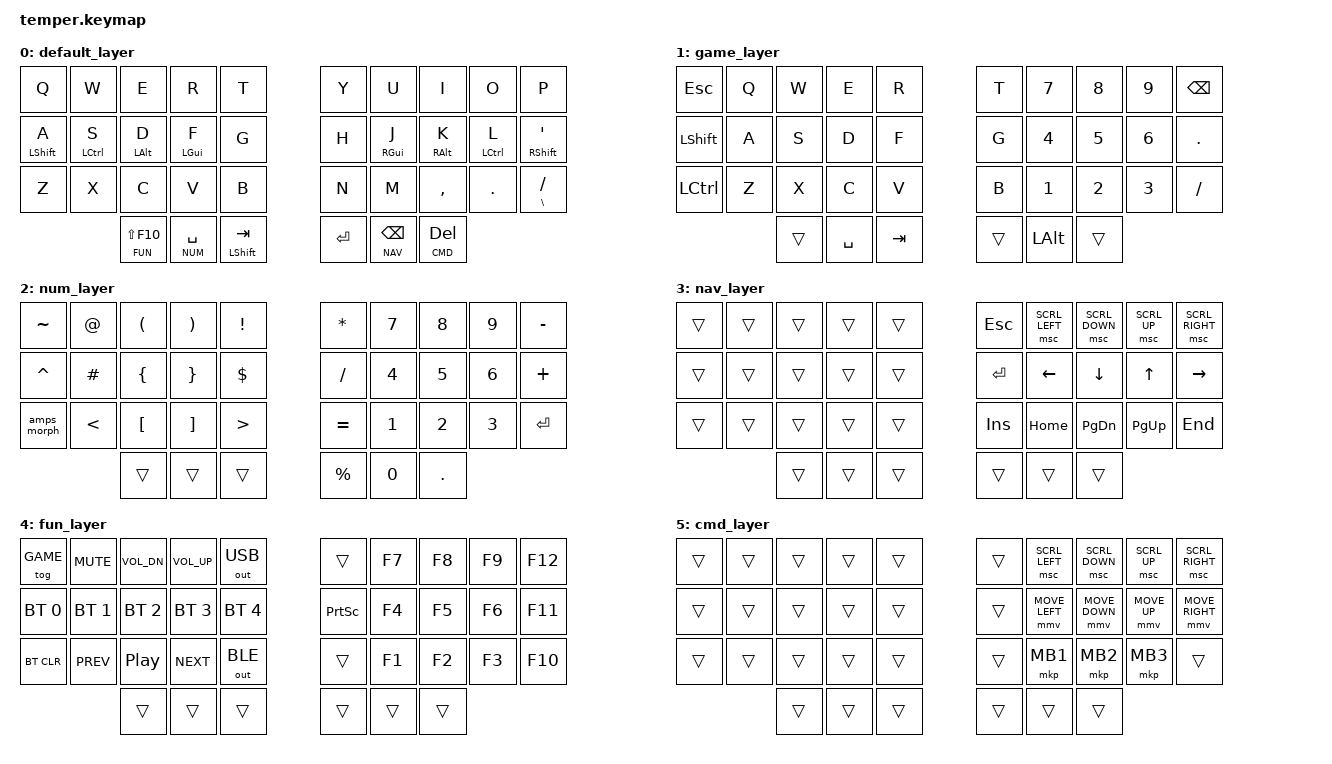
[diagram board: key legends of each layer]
/*
 * Copyright (c) 2020 The ZMK Contributors
 *
 * SPDX-License-Identifier: MIT
 */

#include <behaviors.dtsi>
#include <dt-bindings/zmk/keys.h>
#include <dt-bindings/zmk/bt.h>
#include <dt-bindings/zmk/outputs.h>
#include <dt-bindings/zmk/pointing.h>

#define DEFAULT 0
#define GAME 1
#define NUM 2
#define NAV 3
#define FUN 4
#define CMD 5

# define ______ &trans

/ {
    conditional_layers {
        compatible = "zmk,conditional-layers";
        tri_layer {
            if-layers = <NUM NAV>;
            then-layer = <FUN>;
        };
    };
    behaviors {
        hm: homerow_mods {
            compatible = "zmk,behavior-hold-tap";
            label = "HOMEROW_MODS";
            #binding-cells = <2>;
            tapping-term-ms = <150>;
            flavor = "tap-preferred";
            bindings = <&kp>, <&kp>;

            quick-tap-ms = <200>;
        };
        bspc_del: backspace_delete {
            compatible = "zmk,behavior-mod-morph";
            #binding-cells = <0>;
            bindings = <&kp BACKSPACE>, <&kp DELETE>;
            mods = <(MOD_LSFT|MOD_RSFT)>;
            keep-mods = <(MOD_RSFT)>;
        };
        super_bspc: super_backspace {
            compatible = "zmk,behavior-mod-morph";
            #binding-cells = <0>;
            bindings = <&kp BACKSPACE>, <&kp LA(BACKSPACE)>;
            mods = <(MOD_LSFT|MOD_RSFT)>;
        };
        smart_shft: smart_shift {
            compatible = "zmk,behavior-mod-morph";
            #binding-cells = <0>;
            bindings = <&kp LSHFT>, <&caps_word>;
            mods = <(MOD_LSFT)>;
        };
        comma_semi: comma_semi {
            compatible = "zmk,behavior-mod-morph";
            #binding-cells = <0>;
            bindings = <&kp COMMA>, <&kp SEMI>;
            mods = <(MOD_LSFT)>;
        };
        dot_colon: dot_colon {
            compatible = "zmk,behavior-mod-morph";
            #binding-cells = <0>;
            bindings = <&kp DOT>, <&kp COLON>;
            mods = <(MOD_LSFT)>;
        };
        qmrk_excl: qmrk_excl {
            compatible = "zmk,behavior-mod-morph";
            #binding-cells = <0>;
            bindings = <&kp QMARK>, <&kp EXCL>;
            mods = <(MOD_LSFT)>;
        };
        slh_morph: slh_morph {
            compatible = "zmk,behavior-mod-morph";
            #binding-cells = <0>;
            bindings = <&kp FSLH>, <&kp BSLH>;
            mods = <(MOD_LSFT)>;
        };
        amps_morph: amps_morph {
            compatible = "zmk,behavior-mod-morph";
            #binding-cells = <0>;
            bindings = <&kp AMPS>, <&kp PIPE>;
            mods = <(MOD_LSFT)>;
        };
    };
        keymap {
                compatible = "zmk,keymap";

                default_layer {
                        bindings = <
// ╭─────────────┬─────────────┬─────────────┬─────────────┬─────────────╮   ╭─────────────┬─────────────┬─────────────┬─────────────┬─────────────╮
        &kp Q         &kp W         &kp E         &kp R         &kp T             &kp Y         &kp U         &kp I         &kp O         &kp P   
// ├─────────────┼─────────────┼─────────────┼─────────────┼─────────────┤   ├─────────────┼─────────────┼─────────────┼─────────────┼─────────────┤
     &hm LEFT_SHIFT A  &hm LCTRL S  &hm LALT D   &hm LEFT_GUI F  &kp G        &kp H    &hm RIGHT_GUI J  &hm RIGHT_ALT K  &hm LCTRL L  &hm RIGHT_SHIFT APOS
// ├─────────────┼─────────────┼─────────────┼─────────────┼─────────────┤   ├─────────────┼─────────────┼─────────────┼─────────────┼─────────────┤
        &kp Z         &kp X         &kp C         &kp V         &kp B             &kp N         &kp M      &kp COMMA    &kp DOT    &mt BSLH FSLH
// ╰─────────────┴─────────────┼─────────────┼─────────────┼─────────────┤   ├─────────────┼─────────────┼─────────────┼─────────────┴─────────────╯
                                &lt FUN LS(F10)  &lt NUM SPACE  &mt LEFT_SHIFT TAB    &kp RET  &lt NAV BACKSPACE  &lt CMD DEL
//                             ╰─────────────┴─────────────┴─────────────╯   ╰─────────────┴─────────────┴─────────────╯
                        >;
                };
                game_layer {
                        bindings = <
// ╭─────────────┬─────────────┬─────────────┬─────────────┬─────────────╮   ╭─────────────┬─────────────┬─────────────┬─────────────┬─────────────╮
        &kp ESC       &kp Q         &kp W         &kp E         &kp R             &kp T         &kp N7        &kp N8        &kp N9        &kp BSPC  
// ├─────────────┼─────────────┼─────────────┼─────────────┼─────────────┤   ├─────────────┼─────────────┼─────────────┼─────────────┼─────────────┤
       &kp LSHFT      &kp A         &kp S         &kp D         &kp F             &kp G         &kp N4        &kp N5        &kp N6        &kp DOT
// ├─────────────┼─────────────┼─────────────┼─────────────┼─────────────┤   ├─────────────┼─────────────┼─────────────┼─────────────┼─────────────┤
       &kp LCTRL      &kp Z         &kp X         &kp C         &kp V             &kp B         &kp N1        &kp N2        &kp N3        &kp FSLH
// ╰─────────────┴─────────────┼─────────────┼─────────────┼─────────────┤   ├─────────────┼─────────────┼─────────────┼─────────────┴─────────────╯
                                    ______        &kp SPACE     &kp TAB           ______        &kp LALT      ______
//                             ╰─────────────┴─────────────┴─────────────╯   ╰─────────────┴─────────────┴─────────────╯
                        >;
                };
                num_layer {
                        bindings = <
// ╭─────────────┬─────────────┬─────────────┬─────────────┬─────────────╮   ╭─────────────┬─────────────┬─────────────┼─────────────┼─────────────╮
      &kp TILDE       &kp AT       &kp LPAR      &kp RPAR     &kp EXCL           &kp STAR       &kp N7        &kp N8        &kp N9      &kp MINUS
// ├─────────────┼─────────────┼─────────────┼─────────────┼─────────────┤   ├─────────────┼─────────────┼─────────────┼─────────────┼─────────────┤
      &kp CARET      &kp HASH      &kp LBRC      &kp RBRC      &kp DLLR          &kp FSLH       &kp N4        &kp N5        &kp N6      &kp PLUS
// ├─────────────┼─────────────┼─────────────┼─────────────┼─────────────┤   ├─────────────┼─────────────┼─────────────┼─────────────┼─────────────┤
      &amps_morph     &kp LT       &kp LBKT      &kp RBKT       &kp GT           &kp EQUAL      &kp N1        &kp N2        &kp N3      &kp RET
// ╰─────────────┴─────────────┼─────────────┼─────────────┼─────────────┤   ├─────────────┼─────────────┼─────────────┼─────────────┴─────────────╯
                                    ______        ______        ______            &kp PRCNT     &kp N0        &kp DOT
//                             ╰─────────────┴─────────────┴─────────────╯   ╰─────────────┴─────────────┴─────────────╯
                        >;
                };

                nav_layer {
                        bindings = <
// ╭─────────────┬─────────────┬─────────────┬─────────────┬─────────────╮   ╭─────────────┬─────────────┬─────────────┬─────────────┬─────────────╮
        ______        ______        ______        ______        ______           &kp ESC    &msc SCRL_LEFT  &msc SCRL_DOWN  &msc SCRL_UP &msc SCRL_RIGHT
// ├─────────────┼─────────────┼─────────────┼─────────────┼─────────────┤   ├─────────────┼─────────────┼─────────────┼─────────────┼─────────────┤
        ______        ______        ______        ______        ______           &kp RET       &kp LEFT      &kp DOWN      &kp UP        &kp RIGHT
// ├─────────────┼─────────────┼─────────────┼─────────────┼─────────────┤   ├─────────────┼─────────────┼─────────────┼─────────────┼─────────────┤
        ______        ______        ______        ______        ______           &kp INS       &kp HOME      &kp PG_DN     &kp PG_UP     &kp END
// ╰─────────────┴─────────────┼─────────────┼─────────────┼─────────────┤   ├─────────────┼─────────────┼─────────────┼─────────────┴─────────────╯
                                    ______        ______        ______            ______        ______        ______
//                             ╰─────────────┴─────────────┴─────────────╯   ╰─────────────┴─────────────┴─────────────╯
                        >;
                };

                fun_layer {
                        bindings = <
// ╭─────────────┬─────────────┬─────────────┬─────────────┬─────────────╮   ╭─────────────┬─────────────┬─────────────┬─────────────┬─────────────╮
      &tog GAME    &kp K_MUTE    &kp C_VOL_DN  &kp C_VOL_UP  &out OUT_USB         ______        &kp F7        &kp F8        &kp F9       &kp F12
// ├─────────────┼─────────────┼─────────────┼─────────────┼─────────────┤   ├─────────────┼─────────────┼─────────────┼─────────────┼─────────────┤
     &bt BT_SEL 0  &bt BT_SEL 1  &bt BT_SEL 2  &bt BT_SEL 3  &bt BT_SEL 4      &kp PSCRN      &kp F4        &kp F5        &kp F6       &kp F11
// ├─────────────┼─────────────┼─────────────┼─────────────┼─────────────┤   ├─────────────┼─────────────┼─────────────┼─────────────┼─────────────┤
      &bt BT_CLR    &kp C_PREV     &kp C_PP     &kp C_NEXT   &out OUT_BLE         ______        &kp F1        &kp F2        &kp F3       &kp F10
// ╰─────────────┴─────────────┼─────────────┼─────────────┼─────────────┤   ├─────────────┼─────────────┼─────────────┼─────────────┴─────────────╯
                                    ______        ______        ______            ______        ______        ______
//                             ╰─────────────┴─────────────┴─────────────╯   ╰─────────────┴─────────────┴─────────────╯
                        >;
                };

                cmd_layer {
                        bindings = <
// ╭─────────────┬─────────────┬─────────────┬─────────────┬─────────────╮   ╭─────────────┬─────────────┬─────────────┬─────────────┬─────────────╮
        ______        ______        ______        ______        ______           ______    &msc SCRL_LEFT  &msc SCRL_DOWN  &msc SCRL_UP &msc SCRL_RIGHT
// ├─────────────┼─────────────┼─────────────┼─────────────┼─────────────┤   ├─────────────┼─────────────┼─────────────┼─────────────┼─────────────┤
        ______        ______        ______        ______        ______           ______    &mmv MOVE_LEFT  &mmv MOVE_DOWN  &mmv MOVE_UP &mmv MOVE_RIGHT
// ├─────────────┼─────────────┼─────────────┼─────────────┼─────────────┤   ├─────────────┼─────────────┼─────────────┼─────────────┼─────────────┤
        ______        ______        ______        ______        ______           ______        &mkp MB1      &mkp MB2      &mkp MB3      ______
// ╰─────────────┴─────────────┼─────────────┼─────────────┼─────────────┤   ├─────────────┼─────────────┼─────────────┼─────────────┴─────────────╯
                                    ______        ______        ______            ______        ______        ______
//                             ╰─────────────┴─────────────┴─────────────╯   ╰─────────────┴─────────────┴─────────────╯
                        >;
                };
        };
};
